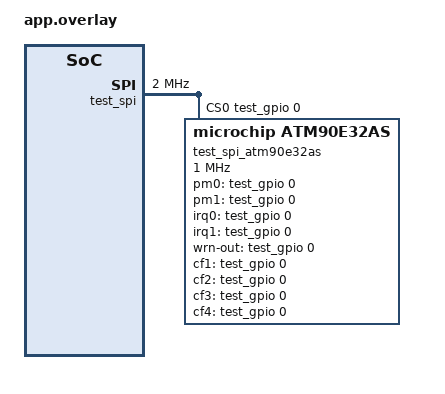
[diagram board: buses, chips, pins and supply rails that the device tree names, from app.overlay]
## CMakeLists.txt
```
# Copyright (c) 2025 Pedro Ramos
# SPDX-License-Identifier: Apache-2.0

cmake_minimum_required(VERSION 3.28.0)
find_package(Zephyr REQUIRED HINTS $ENV{ZEPHYR_BASE})
project(build_all)

target_sources(app PRIVATE src/main.c)
```

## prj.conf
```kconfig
CONFIG_ENERGY_METER=y
CONFIG_GPIO=y
CONFIG_SPI=y
```

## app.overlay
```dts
/*
 * Copyright (c) 2025 Pedro Ramos
 *
 * SPDX-License-Identifier: Apache-2.0
 */

/ {
	test {
		#address-cells = <1>;
		#size-cells = <1>;

		test_spi: spi@33334444 {
			compatible = "vnd,spi";
			reg = <0x33334444 0x1000>;
			#address-cells = <1>;
			#size-cells = <0>;
			clock-frequency = <2000000>;
			cs-gpios = <&test_gpio 0 0>;
			status = "okay";

			test_spi_atm90e32as: atm90e32as@0 {
				compatible = "microchip,atm90e32as";
				reg = <0>;
				spi-max-frequency = <1000000>;
				pm0-gpios = <&test_gpio 0 0>;
				pm1-gpios = <&test_gpio 0 0>;
				irq0-gpios = <&test_gpio 0 0>;
				irq1-gpios = <&test_gpio 0 0>;
				wrn-out-gpios = <&test_gpio 0 0>;
				cf1-gpios = <&test_gpio 0 0>;
				cf2-gpios = <&test_gpio 0 0>;
				cf3-gpios = <&test_gpio 0 0>;
				cf4-gpios = <&test_gpio 0 0>;
			};
		};

		test_gpio: gpio@deadbeef {
			compatible = "vnd,gpio";
			reg = <0xdeadbeef 0x1000>;
			gpio-controller;
			#gpio-cells = <0x2>;
			status = "okay";
		};
	};
};
```

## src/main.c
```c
/*
 * Copyright (c) 2025 Pedro Ramos
 *
 * SPDX-License-Identifier: Apache-2.0
 */

int main(void)
{
	return 0;
}
```
